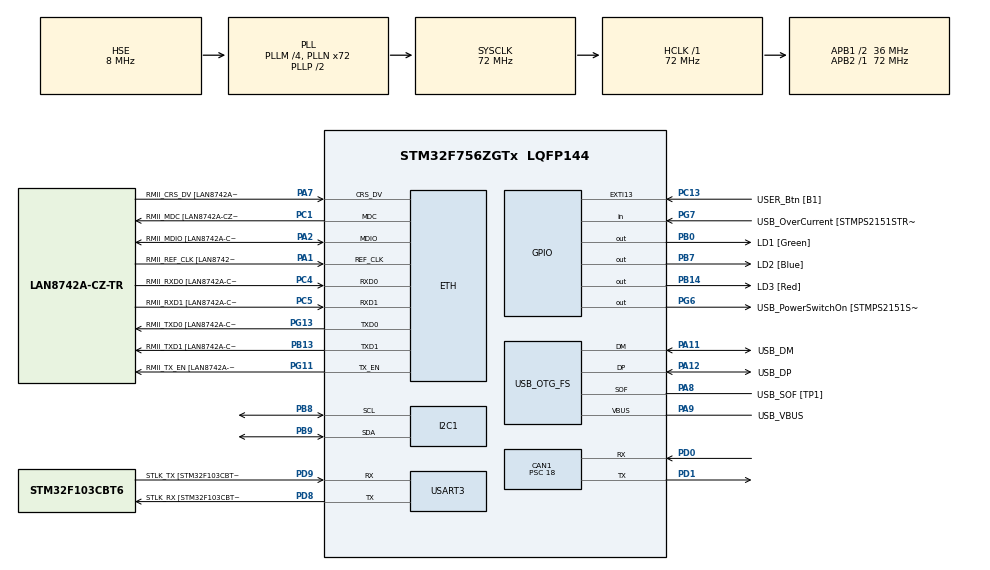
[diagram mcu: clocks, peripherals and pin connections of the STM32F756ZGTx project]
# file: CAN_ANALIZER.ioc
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CAN1.ABOM=ENABLE
CAN1.AWUM=ENABLE
CAN1.BS1=CAN_BS1_11TQ
CAN1.BS2=CAN_BS2_4TQ
CAN1.CalculateBaudRate=125000
CAN1.CalculateTimeBit=8000
CAN1.CalculateTimeQuantum=500.0
CAN1.NART=ENABLE
CAN1.Prescaler=18
ETH.MediaInterface=HAL_ETH_RMII_MODE
ETH.PHY_Name=LAN8742A_PHY_ADDRESS
ETH.PHY_Value=0
ETH.PhyAddress=0
I2C1.Timing=0x00808CD2
LWIP.BSP.number=1
LWIP.IP_ADDRESS=003.053.017.031
LWIP.LWIP_DHCP=0
LWIP.NETMASK_ADDRESS=255.255.000.000
LWIP.Version=v2.1.2_Cube
LWIP0.BSP.STBoard=false
LWIP0.BSP.api=BSP_COMPONENT_DRIVER
LWIP0.BSP.component=LAN8742
LWIP0.BSP.instance=LAN8742
LWIP0.BSP.name=Driver_PHY
LWIP0.BSP.semaphore=S_LAN8742
LWIP0.BSP.solution=LAN8742
Mcu.Family=STM32F7
Mcu.Name=STM32F756ZGTx
Mcu.Package=LQFP144
NVIC.CAN1_RX0_IRQn=true\:0\:0\:false\:false\:true\:true\:true\:true
NVIC.PriorityGroup=NVIC_PRIORITYGROUP_4
PA1.GPIO_Label=RMII_REF_CLK [LAN8742A-CZ-TR_REFCLK0]
PA1.Mode=RMII
PA1.Signal=ETH_REF_CLK
PA10.GPIO_Label=USB_ID
PA10.Signal=USB_OTG_FS_ID
PA11.GPIO_Label=USB_DM
PA11.Mode=Device_Only
PA11.Signal=USB_OTG_FS_DM
PA12.GPIO_Label=USB_DP
PA12.Mode=Device_Only
PA12.Signal=USB_OTG_FS_DP
PA13.GPIO_Label=TMS
PA13.Mode=Serial_Wire
PA13.Signal=SYS_JTMS-SWDIO
PA14.GPIO_Label=TCK
PA14.Mode=Serial_Wire
PA14.Signal=SYS_JTCK-SWCLK
PA2.GPIO_Label=RMII_MDIO [LAN8742A-CZ-TR_MDIO]
PA2.Mode=RMII
PA2.Signal=ETH_MDIO
PA7.GPIO_Label=RMII_CRS_DV [LAN8742A-CZ-TR_CRS_DV]
PA7.Mode=RMII
PA7.Signal=ETH_CRS_DV
PA8.GPIO_Label=USB_SOF [TP1]
PA8.Mode=Activate_SOF_FS
PA8.Signal=USB_OTG_FS_SOF
PA9.GPIO_Label=USB_VBUS
PA9.Mode=Activate_VBUS
PA9.Signal=USB_OTG_FS_VBUS
PB0.GPIO_Label=LD1 [Green]
PB0.Signal=GPIO_Output
PB13.GPIO_Label=RMII_TXD1 [LAN8742A-CZ-TR_TXD1]
PB13.Mode=RMII
PB13.Signal=ETH_TXD1
PB14.GPIO_Label=LD3 [Red]
PB14.Signal=GPIO_Output
PB3.GPIO_Label=SW0
PB3.Signal=SYS_JTDO-SWO
PB7.GPIO_Label=LD2 [Blue]
PB7.Signal=GPIO_Output
PB8.Mode=I2C
PB8.Signal=I2C1_SCL
PB9.Mode=I2C
PB9.Signal=I2C1_SDA
PC1.GPIO_Label=RMII_MDC [LAN8742A-CZ-TR_MDC]
PC1.Mode=RMII
PC1.Signal=ETH_MDC
PC13.GPIO_Label=USER_Btn [B1]
PC13.Signal=GPXTI13
PC14/OSC32_IN.Mode=LSE-External-Oscillator
PC14/OSC32_IN.Signal=RCC_OSC32_IN
PC15/OSC32_OUT.Mode=LSE-External-Oscillator
PC15/OSC32_OUT.Signal=RCC_OSC32_OUT
PC4.GPIO_Label=RMII_RXD0 [LAN8742A-CZ-TR_RXD0]
PC4.Mode=RMII
PC4.Signal=ETH_RXD0
PC5.GPIO_Label=RMII_RXD1 [LAN8742A-CZ-TR_RXD1]
PC5.Mode=RMII
PC5.Signal=ETH_RXD1
PD0.GPIO_PuPd=GPIO_PULLUP
PD0.Mode=CAN_Activate
PD0.Signal=CAN1_RX
PD1.Mode=CAN_Activate
PD1.Signal=CAN1_TX
PD8.GPIO_Label=STLK_RX [STM32F103CBT6_PA3]
PD8.Mode=Asynchronous
PD8.Signal=USART3_TX
PD9.GPIO_Label=STLK_TX [STM32F103CBT6_PA2]
PD9.Mode=Asynchronous
PD9.Signal=USART3_RX
PG11.GPIO_Label=RMII_TX_EN [LAN8742A-CZ-TR_TXEN]
PG11.Mode=RMII
PG11.Signal=ETH_TX_EN
PG13.GPIO_Label=RMII_TXD0 [LAN8742A-CZ-TR_TXD0]
PG13.Mode=RMII
PG13.Signal=ETH_TXD0
PG6.GPIO_Label=USB_PowerSwitchOn [STMPS2151STR_EN]
PG6.Signal=GPIO_Output
PG7.GPIO_Label=USB_OverCurrent [STMPS2151STR_FAULT]
PG7.Signal=GPIO_Input
PH0/OSC_IN.GPIO_Label=MCO [STM32F103CBT6_PA8]
PH0/OSC_IN.Mode=HSE-External-Clock-Source
PH0/OSC_IN.Signal=RCC_OSC_IN
PH1/OSC_OUT.Mode=HSE-External-Clock-Source
PH1/OSC_OUT.Signal=RCC_OSC_OUT
ProjectManager.HeapSize=0x200
ProjectManager.StackSize=0x400
ProjectManager.TargetToolchain=STM32CubeIDE
RCC.48MHZClocksFreq_Value=24000000
RCC.AHBFreq_Value=72000000
RCC.APB1CLKDivider=RCC_HCLK_DIV2
RCC.APB1Freq_Value=36000000
RCC.APB1TimFreq_Value=72000000
RCC.APB2Freq_Value=72000000
RCC.APB2TimFreq_Value=72000000
RCC.CortexFreq_Value=72000000
RCC.HCLKFreq_Value=72000000
RCC.HSE_VALUE=8000000
RCC.HSI_VALUE=16000000
RCC.PLLM=4
RCC.PLLMUL=RCC_PLL_MUL9
RCC.PLLN=72
RCC.PLLQ=3
RCC.PRESCALERUSB=RCC_USBCLKSOURCE_PLL_DIV1_5
RCC.SYSCLKFreq_VALUE=72000000
RCC.SYSCLKSource=RCC_SYSCLKSOURCE_PLLCLK
RCC.SYSCLKSourceVirtual=RCC_SYSCLKSOURCE_PLLCLK
RCC.USBFreq_Value=48000000
RCC.VCOOutputFreq_Value=144000000
USART3.VirtualMode-Asynchronous=VM_ASYNC
USB_OTG_FS.VirtualMode=Device_Only
VP_LWIP_VS_Enabled.Mode=Enabled
board=NUCLEO-F756ZG

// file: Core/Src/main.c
/* USER CODE BEGIN Header */
/**
  ******************************************************************************
  * @file           : main.c
  * @brief          : Node 0x002 - odbiera komendę, miga, odsyła odpowiedź
  ******************************************************************************
  */
/* USER CODE END Header */
#include "main.h"
#include "can.h"
#include "i2c.h"
#include "lwip.h"
#include "usart.h"
#include "usb_otg.h"
#include "gpio.h"

/* USER CODE BEGIN Includes */
#include <string.h>
#include <stdio.h>
#include "lwip.h"
#include "lwip/udp.h"
#include "lwip/apps/sntp.h"
#include "lwip/ip_addr.h"
#include "usb_otg.h"
/* USER CODE END Includes */

/* USER CODE BEGIN PD */
#define NODE_ID   0x002U   /* ID tego węzła */
#define PEER_ID   0x001U   /* ID drugiego węzła (od niego odbieramy) */
/* USER CODE END PD */

/* USER CODE BEGIN PV */
CAN_TxHeaderTypeDef TxHeader;
CAN_RxHeaderTypeDef RxHeader;
uint8_t  RxData[8];
uint32_t TxMailbox;

volatile uint8_t rxFlag     = 0;
volatile uint8_t blinkDelay = 0;
volatile uint8_t blinkCount = 0;

void HAL_CAN_RxFifo0MsgPendingCallback(CAN_HandleTypeDef *hcan)
{
    if (HAL_CAN_GetRxMessage(hcan, CAN_RX_FIFO0, &RxHeader, RxData) != HAL_OK)
        return;

    if (RxHeader.DLC == 2)
    {
        blinkDelay = RxData[0];
        blinkCount = RxData[1];
        rxFlag     = 1;
    }
}
/* USER CODE END PV */

void SystemClock_Config(void);
/* USER CODE BEGIN PFP */
void sFilterConfig(void);
/* USER CODE END PFP */

int main(void)
{

  /* MCU Configuration--------------------------------------------------------*/

  /* Reset of all peripherals, Initializes the Flash interface and the Systick. */
  HAL_Init();

  /* Configure the system clock */
  SystemClock_Config();

  /* Initialize all configured peripherals */
  MX_GPIO_Init();
  MX_I2C1_Init();
  MX_USART3_UART_Init();
  MX_USB_OTG_FS_PCD_Init();
  MX_CAN1_Init();
  MX_LWIP_Init();
  /* USER CODE BEGIN 2 */
  sFilterConfig();
  HAL_CAN_Start(&hcan1);
  HAL_CAN_ActivateNotification(&hcan1, CAN_IT_RX_FIFO0_MSG_PENDING);

  TxHeader.DLC   = 2;
  TxHeader.IDE   = CAN_ID_STD;
  TxHeader.RTR   = CAN_RTR_DATA;
  TxHeader.StdId = NODE_ID;
  /* USER CODE END 2 */

  /* Infinite loop */
  /* USER CODE BEGIN WHILE */
  while (1)
  {
    if (rxFlag)
    {
        rxFlag = 0;
        uint8_t d = blinkDelay;
        uint8_t n = blinkCount;

        /* Migamy LD2 */
        for (uint8_t i = 0; i < n; i++)
        {
            HAL_GPIO_TogglePin(GPIOB, LD2_Pin);
            HAL_Delay(d);
            HAL_GPIO_TogglePin(GPIOB, LD2_Pin);
            HAL_Delay(d);
        }

        /* Odsyłamy odpowiedź [100, 40] do węzła 0x001 */
        uint8_t reply[2] = { 100, 40 };
        HAL_CAN_AddTxMessage(&hcan1, &TxHeader, reply, &TxMailbox);
    }
    /* USER CODE END WHILE */

  }
}

void SystemClock_Config(void)
{
  RCC_OscInitTypeDef RCC_OscInitStruct = {0};
  RCC_ClkInitTypeDef RCC_ClkInitStruct = {0};

  /** Configure LSE Drive Capability
  */
  HAL_PWR_EnableBkUpAccess();

  /** Configure the main internal regulator output voltage
  */
  __HAL_RCC_PWR_CLK_ENABLE();
  __HAL_PWR_VOLTAGESCALING_CONFIG(PWR_REGULATOR_VOLTAGE_SCALE3);

  /** Initializes the RCC Oscillators according to the specified parameters
  * in the RCC_OscInitTypeDef structure.
  */
  RCC_OscInitStruct.OscillatorType = RCC_OSCILLATORTYPE_HSE;
  RCC_OscInitStruct.HSEState = RCC_HSE_BYPASS;
  RCC_OscInitStruct.PLL.PLLState = RCC_PLL_ON;
  RCC_OscInitStruct.PLL.PLLSource = RCC_PLLSOURCE_HSE;
  RCC_OscInitStruct.PLL.PLLM = 4;
  RCC_OscInitStruct.PLL.PLLN = 72;
  RCC_OscInitStruct.PLL.PLLP = RCC_PLLP_DIV2;
  RCC_OscInitStruct.PLL.PLLQ = 3;
  if (HAL_RCC_OscConfig(&RCC_OscInitStruct) != HAL_OK)
  {
    Error_Handler();
  }

  /** Initializes the CPU, AHB and APB buses clocks
  */
  RCC_ClkInitStruct.ClockType = RCC_CLOCKTYPE_HCLK|RCC_CLOCKTYPE_SYSCLK
                              |RCC_CLOCKTYPE_PCLK1|RCC_CLOCKTYPE_PCLK2;
  RCC_ClkInitStruct.SYSCLKSource = RCC_SYSCLKSOURCE_PLLCLK;
  RCC_ClkInitStruct.AHBCLKDivider = RCC_SYSCLK_DIV1;
  RCC_ClkInitStruct.APB1CLKDivider = RCC_HCLK_DIV2;
  RCC_ClkInitStruct.APB2CLKDivider = RCC_HCLK_DIV1;

  if (HAL_RCC_ClockConfig(&RCC_ClkInitStruct, FLASH_LATENCY_2) != HAL_OK)
  {
    Error_Handler();
  }
}

/* USER CODE BEGIN 4 */
void sFilterConfig(void)
{
    CAN_FilterTypeDef f = {0};
    f.FilterBank           = 0;
    f.FilterMode           = CAN_FILTERMODE_IDMASK;
    f.FilterScale          = CAN_FILTERSCALE_32BIT;
    f.FilterIdHigh         = (uint16_t)((PEER_ID << 5) & 0xFFFF);
    f.FilterIdLow          = 0x0000;
    f.FilterMaskIdHigh     = (uint16_t)((0x7FF << 5) & 0xFFFF);
    f.FilterMaskIdLow      = 0x0000;
    f.FilterFIFOAssignment = CAN_FILTER_FIFO0;
    f.FilterActivation     = ENABLE;
    f.SlaveStartFilterBank = 14;

    if (HAL_CAN_ConfigFilter(&hcan1, &f) != HAL_OK) Error_Handler();
}
/* USER CODE END 4 */

void Error_Handler(void)
{
  __disable_irq();
  while (1)
  {
  }
}
